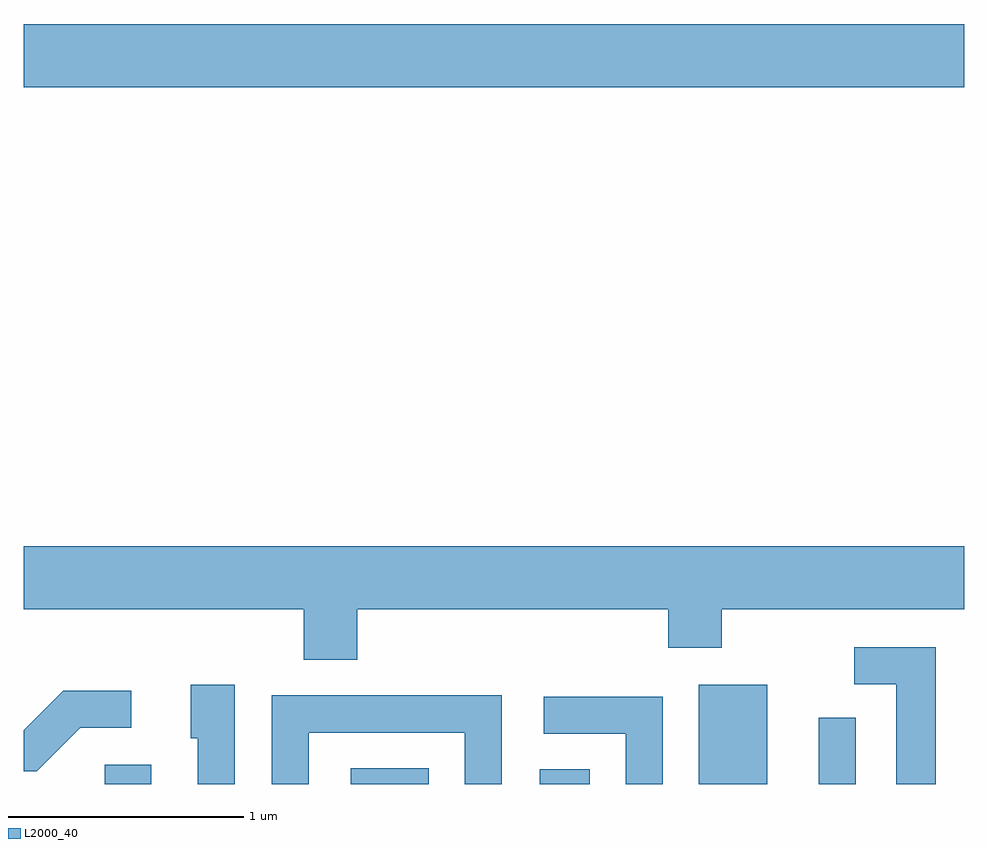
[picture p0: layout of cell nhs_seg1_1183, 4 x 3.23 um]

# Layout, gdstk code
import gdstk
lib = gdstk.Library(unit=1e-6, precision=1e-09)
def R(c, l, rs):  # rectangles x0, y0, x1, y1
    for r in rs: c.add(gdstk.rectangle(r[:2], r[2:], *l))
def P(c, l, *ps):  # polygons
    for p in ps: c.add(gdstk.Polygon(p, *l))
L2000_40 = (2000, 40)

nhs_seg1_1183 = lib.new_cell('nhs_seg1_1183')
R(nhs_seg1_1183, L2000_40, [(221.956,907.712,222.154,907.794), (223.001,907.712,223.334,907.779), (223.806,907.712,224.019,907.774), (224.481,907.712,224.774,908.134), (224.991,907.712,225.149,907.993), (221.611,910.676,225.611,910.944)])
P(nhs_seg1_1183, L2000_40, [(223.029,908.456),(224.351,908.456),(224.351,908.291),(224.579,908.291),(224.579,908.456),(225.611,908.456),(225.611,908.724),(221.611,908.724),(221.611,908.456),(222.801,908.456),(222.801,908.241),(223.029,908.241)],
  [(225.489,908.294),(225.143,908.294),(225.143,908.136),(225.321,908.136),(225.321,907.712),(225.489,907.712)],
  [(222.509,908.134),(222.321,908.134),(222.321,907.906),(222.351,907.906),(222.351,907.712),(222.509,907.712)],
  [(221.852,907.951),(222.068,907.951),(222.068,908.109),(221.779,908.109),(221.611,907.941),(221.611,907.766),(221.667,907.766)],
  [(222.824,907.931),(223.486,907.931),(223.486,907.712),(223.644,907.712),(223.644,908.089),(222.666,908.089),(222.666,907.712),(222.824,907.712)],
  [(224.329,908.084),(223.823,908.084),(223.823,907.926),(224.171,907.926),(224.171,907.712),(224.329,907.712)])

lib.write_gds('nhs_seg1_1183.gds')
